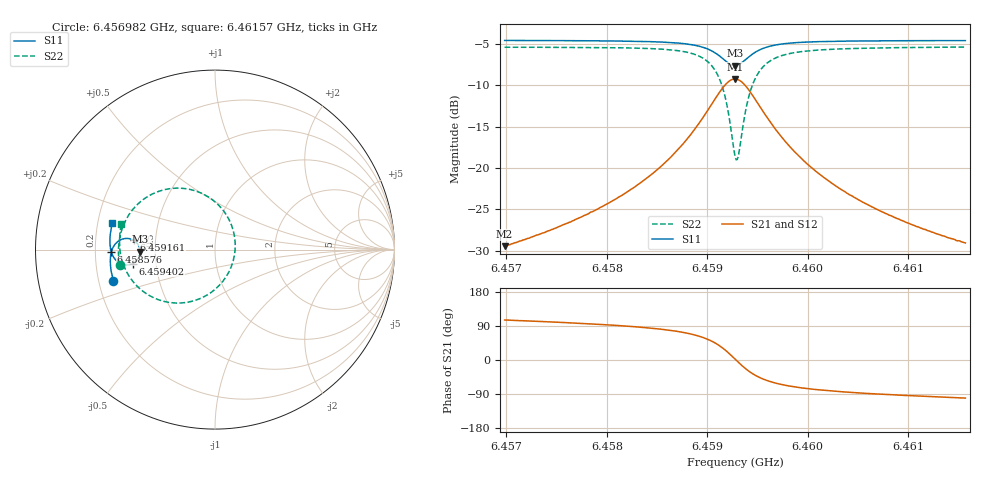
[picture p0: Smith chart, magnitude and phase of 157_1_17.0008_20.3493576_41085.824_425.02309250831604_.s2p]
#  HZ  S  RI  R  50.00
! Rohde & Schwarz Vector Network Analyzer
! Rohde-Schwarz,ZNB20-2Port,1311601062101988,3.16
! Created: UTC 3/20/2024, 10:59:05 PM
! freq[Hz]  re:S11  im:S11  re:S21  im:S21  re:S12  im:S12  re:S22  im:S22
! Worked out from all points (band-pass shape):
!   401 points, 6.456982 GHz to 6.46157 GHz, reference 50 ohm
!   highest |S21| = -9.21 dB at 6.459276 GHz (marker M1); lowest = -29.4 dB at 6.456982 GHz (marker M2)
!   |S21| within 3 dB of the highest: 6.459046 GHz to 6.459506 GHz (459.2 kHz wide, 0.00711 % of centre)
!   lowest |S11| = -7.6 dB at 6.459276 GHz (marker M3), VSWR 2.43, Z = 20.6 - j0.567 ohm
!   |S11| at or under -10 dB: nowhere
!   |S22| runs from -19.0 to -5.3 dB; largest |S21 - S12| = 0.013
!   S11 on the Smith chart (normalised r, x): 6.456982 GHz: 0.26, -0.14; 6.458576 GHz: 0.27, -0.01; 6.459161 GHz: 0.37, +0.05; 6.459402 GHz: 0.37, -0.07; 6.46157 GHz: 0.26, +0.12
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6.4569818e9  -0.5662 -0.1731  -0.00903 0.0325  -0.00735 0.0325  -0.5319 -0.0856
6.4577504e9  -0.5803 -0.106  -0.00577 0.0505  -0.00322 0.05  -0.5376 0.00451
6.4581748e9  -0.5833 -0.0633  0.000185 0.07  0.00342 0.0687  -0.5295 0.0716
6.4585189e9  -0.5796 -0.0221  0.014 0.099  0.0179 0.0963  -0.5042 0.1495
6.4585763e9  -0.5778 -0.0142  0.0184 0.1058  0.0224 0.1029  -0.496 0.166
6.4587827e9  -0.5648 0.0179  0.0459 0.1384  0.05 0.1336  -0.4446 0.2389
6.4589319e9  -0.542 0.0444  0.0912 0.169  0.0944 0.1625  -0.3611 0.3035
6.4590695e9  -0.4981 0.0621  0.1786 0.186  0.1794 0.1786  -0.2019 0.3424
6.4591613e9  -0.4533 0.0518  0.2687 0.1548  0.2689 0.1489  -0.0353 0.2923
6.4592301e9  -0.4241 0.0197  0.3294 0.0829  0.3316 0.0776  0.0803 0.163
6.459276e9  -0.417 -0.0114  0.346 0.015  0.3496 0.00801  0.1126 0.0361
6.4592874e9  -0.4175 -0.0196  0.3457 -0.00293  0.3496 -0.0105  0.1122 0.00262
6.4593104e9  -0.421 -0.0352  0.3402 -0.0376  0.3441 -0.0467  0.1013 -0.0633
6.4593563e9  -0.4367 -0.0615  0.3118 -0.0976  0.314 -0.1095  0.0437 -0.1766
6.4594022e9  -0.4586 -0.0779  0.2697 -0.1389  0.269 -0.1521  -0.0412 -0.2514
6.4594939e9  -0.5022 -0.0849  0.1849 -0.1702  0.1788 -0.1817  -0.2097 -0.298
6.459643e9  -0.5463 -0.0646  0.0968 -0.1566  0.0884 -0.1628  -0.3773 -0.249
6.4598036e9  -0.568 -0.037  0.0518 -0.1289  0.0442 -0.1316  -0.458 -0.177
6.4600445e9  -0.5808 -0.00138  0.0227 -0.0973  0.0168 -0.0979  -0.5059 -0.0947
6.4603886e9  -0.5856 0.0396  0.0066 -0.0703  0.00238 -0.07  -0.5277 -0.0158
6.460813e9  -0.5838 0.0823  -0.00124 -0.0518  -0.00405 -0.0511  -0.5322 0.0523
6.4615701e9  -0.5718 0.1493  -0.0064 -0.0347  -0.00816 -0.0336  -0.5212 0.1417
